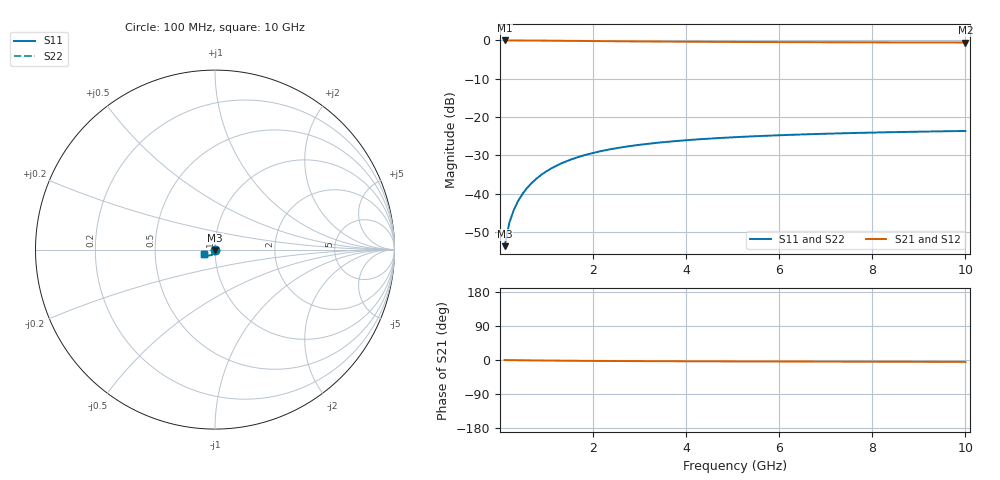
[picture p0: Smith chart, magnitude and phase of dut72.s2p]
! Touchstone file exported from HFSS 2024.1.0
!  File:  C:/UserFiles/LocalFiles/RDL_TSV_Batchsim/temp_TSV1_72_1778827033.aedt
!  Generated:  02:41:13 PM May 15, 2026
!  Design:  TSV1
!  Project:  temp_TSV1_72_1778827033
!  Setup:  Setup1
!  Solution:  Sweep
! Variables:
!  dtsv = 17.62um
!  hbump = 3um
!  htsv = 71.25um
!  lrdl = 252.1521522um
!  p = 40
!  p1 = 53.88um
!  t = 500um
!  trdl = 3um
!  wrdl = 24.89489489um
# GHz S MA R 50.000000
! Terminal data exported
! Port[1] = TSV22_T1
! Port[2] = TSV22_T2
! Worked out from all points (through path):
!   100 points, 100 MHz to 10 GHz, reference 50 ohm
!   highest |S21| = 0.00 dB at 100 MHz (marker M1); lowest = -0.5 dB at 10 GHz (marker M2)
!   lowest |S11| = -53.7 dB at 100 MHz (marker M3), VSWR 1.00, Z = 50 - j0.207 ohm
!   |S11| at or under -10 dB: start of sweep to end of sweep
!   |S22| runs from -53.7 to -23.6 dB; largest |S21 - S12| = 2.1e-15
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0.1  0.002067 -90.0  0.9999 -0.2  0.9999 -0.2  0.002067 -90.0
! Gamma 0 0 0 0
! Port Impedance 50 0 50 0
0.2  0.00414 -92.7  0.9996 -0.3  0.9996 -0.3  0.00414 -92.7
0.3  0.006203 -94.9  0.9993 -0.5  0.9993 -0.5  0.006203 -94.9
0.4  0.008243 -96.9  0.9988 -0.6  0.9988 -0.6  0.008243 -96.9
0.5  0.01025 -98.9  0.9982 -0.8  0.9982 -0.8  0.01025 -98.9
0.6  0.01222 -100.8  0.9975 -0.9  0.9975 -0.9  0.01222 -100.8
0.7  0.01415 -102.7  0.9966 -1.0  0.9966 -1.0  0.01415 -102.7
0.8  0.01602 -104.5  0.9958 -1.2  0.9958 -1.2  0.01602 -104.5
0.9  0.01784 -106.2  0.9948 -1.3  0.9948 -1.3  0.01784 -106.2
1.1  0.02132 -109.5  0.9927 -1.5  0.9927 -1.5  0.02132 -109.5
1.4  0.02608 -114.2  0.9892 -1.9  0.9892 -1.9  0.02608 -114.2
1.6  0.02896 -117.0  0.9868 -2.0  0.9868 -2.0  0.02896 -117.0
1.8  0.0316 -119.6  0.9844 -2.2  0.9844 -2.2  0.0316 -119.6
2.1  0.03516 -123.2  0.9809 -2.4  0.9809 -2.4  0.03516 -123.2
2.5  0.03923 -127.3  0.9764 -2.7  0.9764 -2.7  0.03923 -127.3
2.9  0.04268 -130.9  0.9723 -2.9  0.9723 -2.9  0.04268 -130.9
3.4  0.0463 -134.7  0.9678 -3.1  0.9678 -3.1  0.0463 -134.7
4.2  0.05089 -139.5  0.9617 -3.4  0.9617 -3.4  0.05089 -139.5
5.1  0.05485 -143.7  0.9562 -3.7  0.9562 -3.7  0.05485 -143.7
6.7  0.05987 -149.3  0.949 -4.1  0.949 -4.1  0.05987 -149.3
8.4  0.06348 -153.6  0.9436 -4.6  0.9436 -4.6  0.06348 -153.6
10  0.06587 -156.6  0.94 -5.0  0.94 -5.0  0.06587 -156.6
